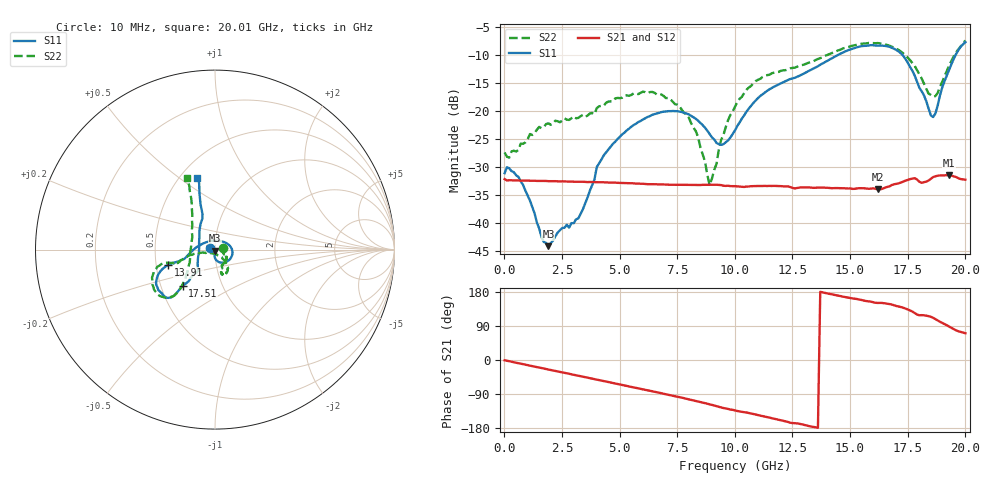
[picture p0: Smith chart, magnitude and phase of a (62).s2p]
! Hittite Microwave Corporation
! 2 Elizabeth Drive
! Chelmsford, MA 01824
! http://www.hittite.com
! Tel: 978-250-3343
! Fax: 978-250-3373
! Device:  HMC424LP3
! Description: 0.5 dB GaAs MMIC 6-Bit Digital Attenuator
! Frequency:  DC -  13.00 GHz
! Package:  LP3  - 3x3 mm Quad Flatpack No-Lead (QFN) Plastic Package: 16 pin
! Ports:  2 RF, 7 DC
!  Pad  1  = Ground
!  Pad  2  = RF IN  =  Port 1
!  Pad  3  = Ground
!  Pad  4  = V6
!  Pad  5  = V5
!  Pad  6  = V4
!  Pad  7  = V3
!  Pad  8  = V2
!  Pad  9  = V1
!  Pad 10  = Ground
!  Pad 11  = RF OUT  = Port 2
!  Pad 12  = Ground
!  Pad 15  = VEE
! Control:  -5 Volt control voltage
! State:  60
! Attenuation:  30.0 dB
! Voltages:  Vdd = -5.00 Volts  Idd =  -2.513 mA
!  V1  = 0.00 Volts  I1  =  29.0 uA
!  V2  = 0.00 Volts  I2  =  29.0 uA
!  V3  = -5.00 Volts  I3  =  -1.0 uA
!  V4  = -5.00 Volts  I4  =  -1.0 uA
!  V5  = -5.00 Volts  I5  =  -1.0 uA
!  V6  = -5.00 Volts  I6  =  -1.0 uA
! Data:  The device was measured on evaluation board 105354-1.
!  Data was collected using a calibrated network analyzer.
!  The evaluation circuit board was modeled and simulated.  This was use
!  to removed the evaluation board circuit from the measured data.
!  The reference plane is the edge of the package pin.
! Misc:  Lot xxxx, Unit 1
!  Application 20120001, Data collected in Application 20090083
! Date Measured:  2009-09-15
! Date:  2012-05-14  MJV
! Note:
!  Hittite supplies this data as a sample of measured data at the package pin
!  for this product.  Your particular data for this product may vary.
!  Data was taken at 25 degrees C.
!  Hittite reserves the right to change this data at anytime.
# GHz S MA R 50
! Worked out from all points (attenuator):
!   201 points, 10 MHz to 20.01 GHz, reference 50 ohm
!   highest |S21| = -31.38 dB at 19.31 GHz (marker M1); lowest = -33.9 dB at 16.21 GHz (marker M2)
!   lowest |S11| = -44.1 dB at 1.91 GHz (marker M3), VSWR 1.01, Z = 50.2 - j0.602 ohm
!   |S11| at or under -10 dB: start of sweep to 14.47 GHz; 17.28 GHz to 19.58 GHz (2.299 GHz wide, 12.5 % of centre)
!   |S22| runs from -33.2 to -7.4 dB; largest |S21 - S12| = 0.001
!   S11 on the Smith chart (normalised r, x): 10 MHz: 0.95, +0.01; 13.91 GHz: 0.58, -0.11; 17.51 GHz: 0.65, -0.28; 20.01 GHz: 0.61, +0.58
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0.01  0.02804 164.6  0.02481 -0.8  0.02545 -2.6  0.04287 9.0
0.61  0.02599 -174.2  0.02414 -8.5  0.02409 -8.5  0.04513 -19.7
1.61  0.007571 -116.6  0.0239 -21.1  0.02392 -21.2  0.07055 -28.5
1.91  0.006265 -73.1  0.02379 -25.1  0.02382 -25.0  0.07795 -31.9
3.41  0.0134 -83.6  0.0235 -44.0  0.02342 -44.1  0.09251 -54.2
4.31  0.04033 -92.7  0.02325 -55.4  0.02311 -55.5  0.1117 -71.7
5.51  0.07266 -72.9  0.02277 -71.1  0.02275 -71.1  0.1396 -74.7
6.71  0.09657 -38.9  0.0222 -86.2  0.02225 -86.1  0.1429 -63.4
8.01  0.0935 3.0  0.02204 -103.9  0.02203 -103.8  0.08722 -47.9
8.41  0.08225 18.1  0.02197 -109.3  0.02201 -109.4  0.05855 -48.1
8.91  0.06246 44.3  0.02205 -117.1  0.02203 -116.9  0.02198 -101.4
9.41  0.05011 90.1  0.02194 -125.2  0.02193 -125.3  0.05566 -159.9
10.01  0.06755 145.3  0.02146 -133.1  0.02139 -133.0  0.1096 -168.9
11.11  0.1368 -173.5  0.02154 -146.9  0.02152 -146.7  0.1945 -162.9
13.41  0.2392 -162.5  0.02075 -176.5  0.02072 -176.3  0.2784 -164.7
13.91  0.2733 -161.9  0.02081 177.3  0.02076 177.3  0.3114 -164.8
16.21  0.3833 -140.4  0.02008 150.6  0.01999 150.7  0.4051 -141.7
16.71  0.3752 -134.2  0.02134 147.6  0.02138 147.8  0.384 -135.6
17.51  0.2702 -131.6  0.02442 133.2  0.02437 133.4  0.3 -131.2
18.61  0.08867 173.8  0.02587 111.2  0.02583 111.1  0.1344 175.1
19.31  0.2353 108.5  0.02698 88.0  0.02677 87.9  0.258 119.9
20.01  0.412 104.0  0.02451 70.5  0.02448 69.9  0.4271 111.5
